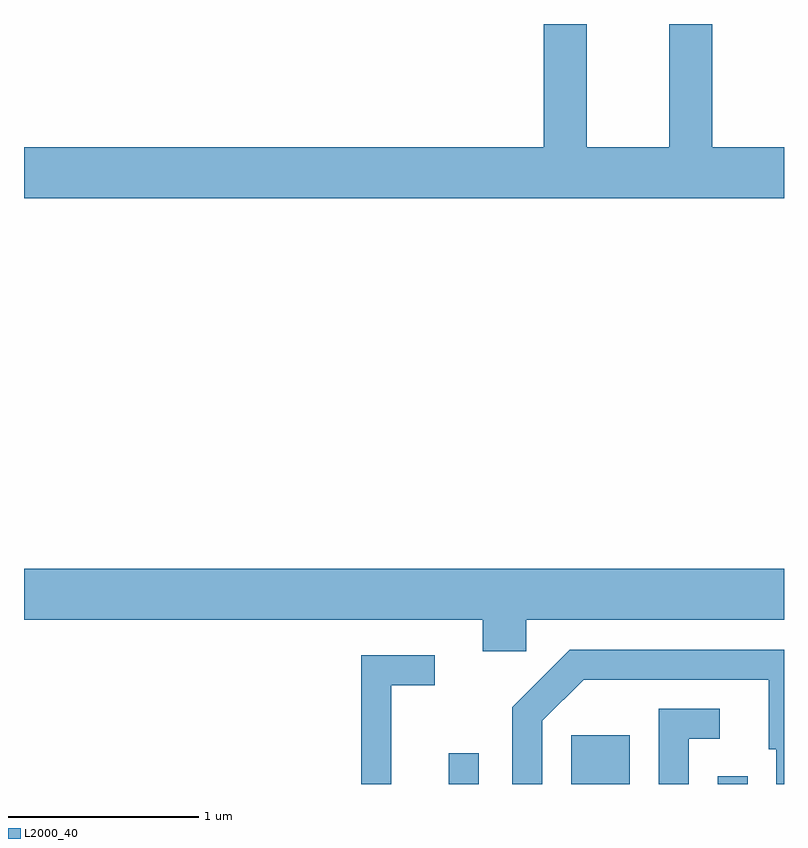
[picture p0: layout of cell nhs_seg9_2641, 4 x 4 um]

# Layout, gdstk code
import gdstk
lib = gdstk.Library(unit=1e-6, precision=1e-09)
def R(c, l, rs):  # rectangles x0, y0, x1, y1
    for r in rs: c.add(gdstk.rectangle(r[:2], r[2:], *l))
def P(c, l, *ps):  # polygons
    for p in ps: c.add(gdstk.Polygon(p, *l))
L2000_40 = (2000, 40)

nhs_seg9_2641 = lib.new_cell('nhs_seg9_2641')
R(nhs_seg9_2641, L2000_40, [(263.846,2066.432,264.004,2066.593), (264.491,2066.432,264.799,2066.689), (265.261,2066.432,265.419,2066.472)])
P(nhs_seg9_2641, L2000_40, [(265.611,2069.784),(265.234,2069.784),(265.234,2070.432),(265.006,2070.432),(265.006,2069.784),(264.574,2069.784),(264.574,2070.432),(264.346,2070.432),(264.346,2069.784),(261.611,2069.784),(261.611,2069.516),(265.611,2069.516)],
  [(264.254,2067.296),(265.611,2067.296),(265.611,2067.564),(261.611,2067.564),(261.611,2067.296),(264.026,2067.296),(264.026,2067.131),(264.254,2067.131)],
  [(264.339,2066.764),(264.557,2066.981),(265.531,2066.981),(265.531,2066.616),(265.571,2066.616),(265.571,2066.432),(265.611,2066.432),(265.611,2067.139),(264.484,2067.139),(264.181,2066.837),(264.181,2066.432),(264.339,2066.432)],
  [(263.544,2066.951),(263.773,2066.951),(263.773,2067.109),(263.386,2067.109),(263.386,2066.432),(263.544,2066.432)],
  [(265.109,2066.671),(265.273,2066.671),(265.273,2066.829),(264.951,2066.829),(264.951,2066.432),(265.109,2066.432)])

lib.write_gds('nhs_seg9_2641.gds')
